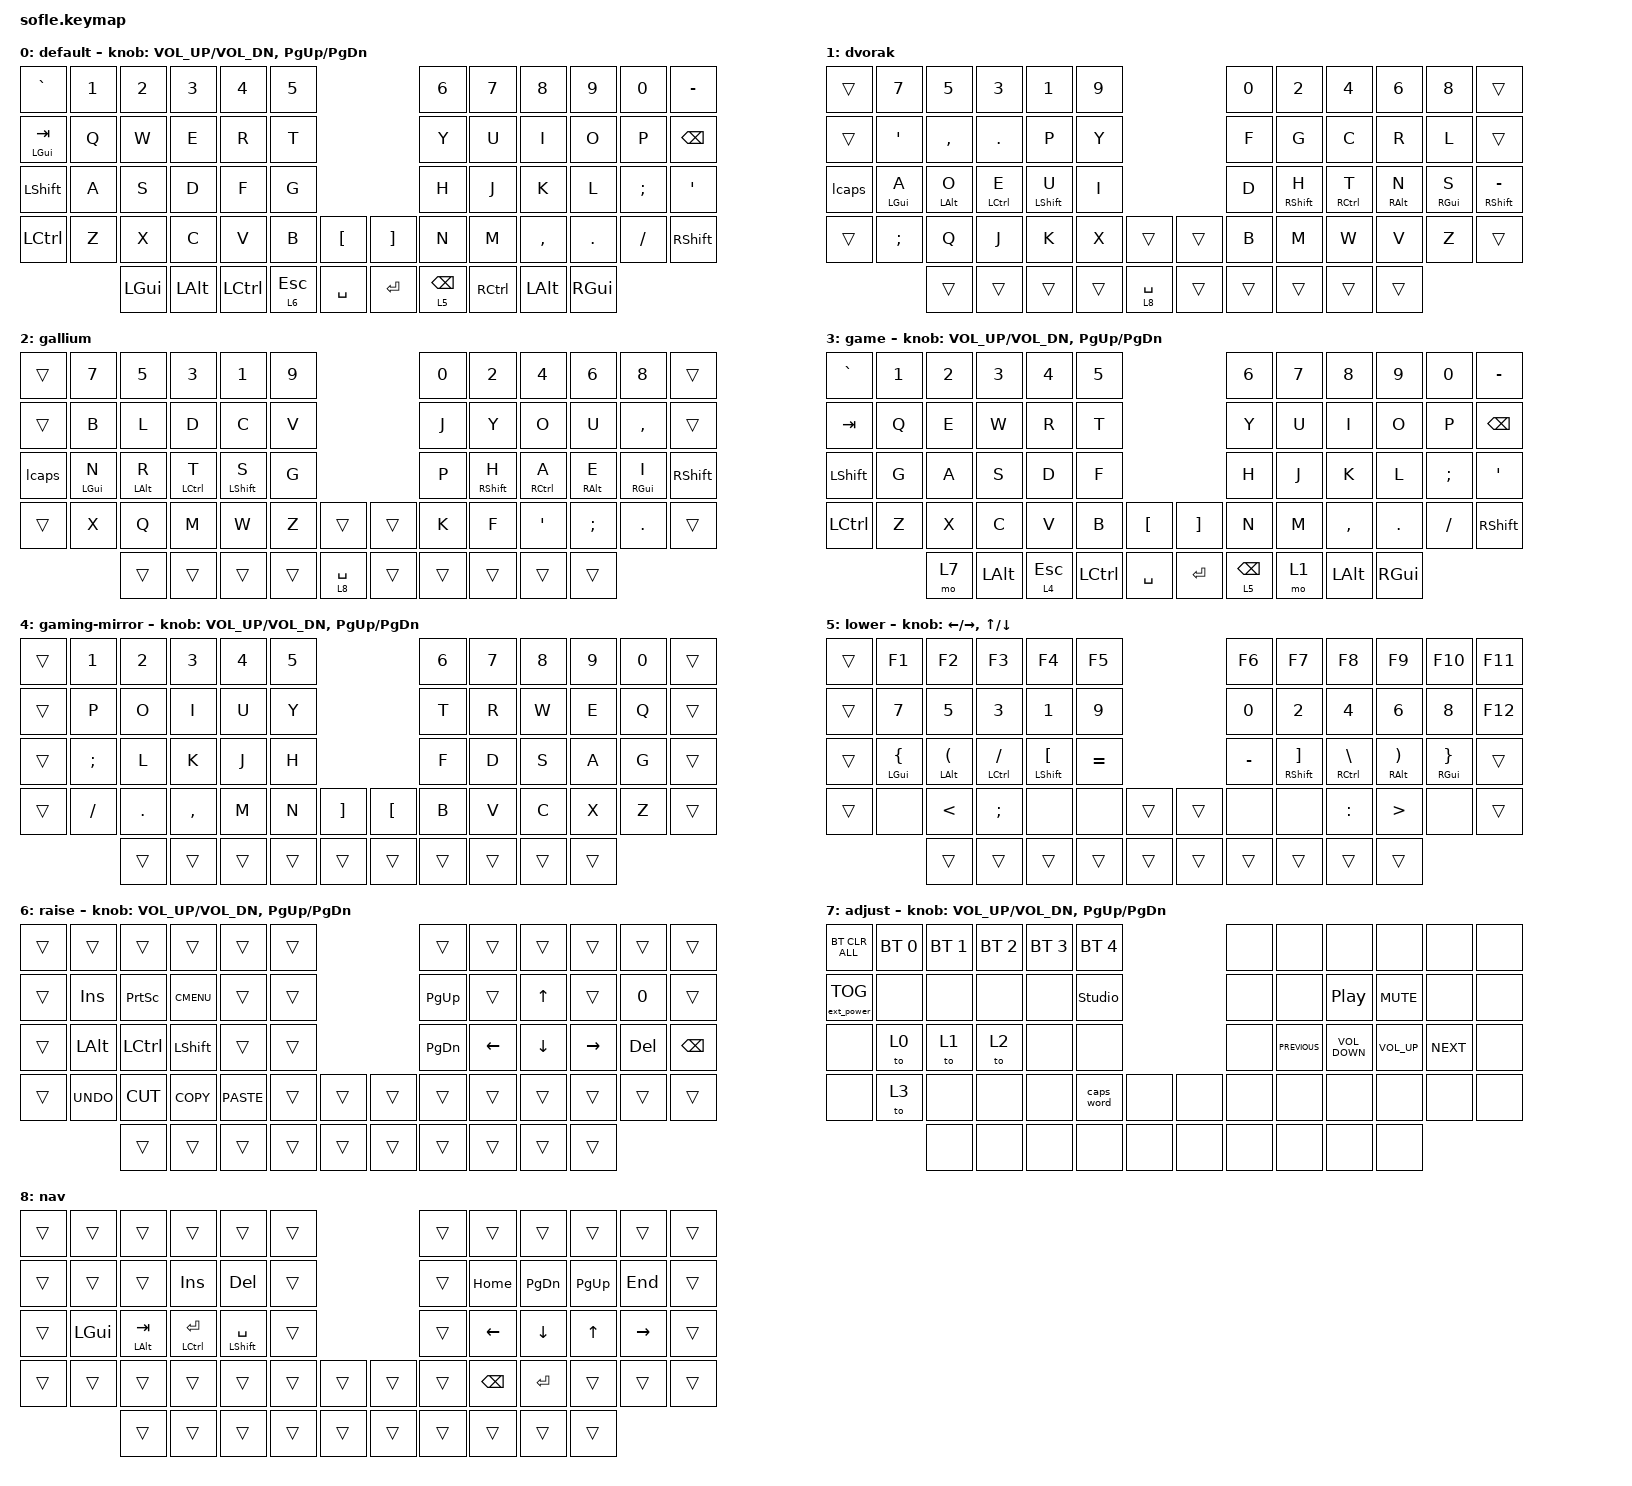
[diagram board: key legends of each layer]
/*
 * Copyright (c) 2020 The ZMK Contributors
 *
 * SPDX-License-Identifier: MIT
 */

#include <behaviors.dtsi>
#include <dt-bindings/zmk/bt.h>
#include <dt-bindings/zmk/ext_power.h>
#include <dt-bindings/zmk/keys.h>

#define BASE 0
#define LOWER 1
#define RAISE 2
#define ADJUST 3
#define extra_layer 4

/ {
    // Activate ADJUST layer by pressing raise and lower

    conditional_layers {
        compatible = "zmk,conditional-layers";

        adjust_layer {
            if-layers = <5 6>;
            then-layer = <7>;
        };
    };

    combos {
        compatible = "zmk,combos";

        question_mark {
            bindings = <&kp QUESTION>;
            key-positions = <14 15>;
            layers = <1 2>;
        };
    };

    behaviors {
        caps: caps {
            compatible = "zmk,behavior-caps-word";
            label = "CAPS";
            #binding-cells = <0>;
            continue-list = <POUND MINUS BACKSPACE UNDERSCORE>;
        };

        hm_l: hm_l {
            compatible = "zmk,behavior-hold-tap";
            label = "Homerow Mod Left Hand";
            bindings = <&kp>, <&kp>;

            #binding-cells = <2>;
            tapping-term-ms = <180>;
            require-prior-idle-ms = <100>;
            flavor = "balanced";
            quick-tap-ms = <175>;
            hold-trigger-key-positions = <18 19 20 21 33 32 31 30 44 45 46 47 22 34 48>;
            hold-trigger-on-release;
        };

        spc: spc {
            compatible = "zmk,behavior-hold-tap";
            label = "Space Layer";
            bindings = <&mo>, <&kp>;

            #binding-cells = <2>;
            tapping-term-ms = <160>;
            quick-tap-ms = <200>;
            require-prior-idle-ms = <10>;
            flavor = "balanced";
        };

        lcaps: lcaps {
            compatible = "zmk,behavior-tap-dance";
            label = "LCAPS";
            #binding-cells = <0>;
            bindings = <&kp LEFT_SHIFT>, <&caps_word>;
        };

        hm_r: hm_r {
            compatible = "zmk,behavior-hold-tap";
            label = "Homerow Mod Right Hand";
            bindings = <&kp>, <&kp>;

            #binding-cells = <2>;
            tapping-term-ms = <180>;
            require-prior-idle-ms = <100>;
            flavor = "balanced";
            quick-tap-ms = <175>;
            hold-trigger-key-positions = <13 25 37 38 26 14 15 16 17 29 28 27 39 40 41>;
            hold-trigger-on-release;
        };
    };

    keymap {
        compatible = "zmk,keymap";

        qwerty {
            display-name = "default";

            // ------------------------------------------------------------------------------------------------------------
            // |   `   |  1  |  2  |  3   |  4   |  5   |                   |  6   |  7    |  8    |  9   |   0   |       |
            // |  ESC  |  Q  |  W  |  E   |  R   |  T   |                   |  Y   |  U    |  I    |  O   |   P   | BKSPC |
            // |  TAB  |  A  |  S  |  D   |  F   |  G   |                   |  H   |  J    |  K    |  L   |   ;   |   '   |
            // | SHIFT |  Z  |  X  |  C   |  V   |  B   |  MUTE  |  |       |  N   |  M    |  ,    |  .   |   /   | SHIFT |
            //               | GUI | ALT  | CTRL | LOWER|  ENTER |  | SPACE | RAISE| CTRL  | ALT   | GUI  |

            bindings = <
&kp GRAVE         &kp N1  &kp N2    &kp N3    &kp N4     &kp N5                                       &kp N6           &kp N7     &kp N8     &kp N9    &kp N0    &kp MINUS
&mt LGUI TAB      &kp Q   &kp W     &kp E     &kp R      &kp T                                        &kp Y            &kp U      &kp I      &kp O     &kp P     &kp BSPC
&kp LEFT_SHIFT    &kp A   &kp S     &kp D     &kp F      &kp G                                        &kp H            &kp J      &kp K      &kp L     &kp SEMI  &kp SQT
&kp LEFT_CONTROL  &kp Z   &kp X     &kp C     &kp V      &kp B         &kp LEFT_BRACKET    &kp RBKT   &kp N            &kp M      &kp COMMA  &kp DOT   &kp FSLH  &kp RSHFT
                          &kp LGUI  &kp LALT  &kp LCTRL  &lt 6 ESCAPE  &kp SPACE           &kp ENTER  &lt 5 BACKSPACE  &kp RCTRL  &kp LALT   &kp RGUI
            >;

            sensor-bindings = <&inc_dec_kp C_VOL_UP C_VOL_DN &inc_dec_kp PG_UP PG_DN>;
            label = "qwerty";
        };

        dvorak {
            bindings = <
&trans  &kp N7            &kp N5            &kp N3                &kp N1              &kp N9                          &kp N0  &kp N2               &kp N4                 &kp N6             &kp N8             &trans
&trans  &kp APOS          &kp COMMA         &kp DOT               &kp P               &kp Y                           &kp F   &kp G                &kp C                  &kp R              &kp L              &trans
&lcaps  &hm_l LEFT_GUI A  &hm_l LEFT_ALT O  &hm_l LEFT_CONTROL E  &hm_l LEFT_SHIFT U  &kp I                           &kp D   &hm_r RIGHT_SHIFT H  &hm_r RIGHT_CONTROL T  &hm_r RIGHT_ALT N  &hm_r RIGHT_GUI S  &mt RIGHT_SHIFT MINUS
&trans  &kp SEMI          &kp Q             &kp J                 &kp K               &kp X   &trans          &trans  &kp B   &kp M                &kp W                  &kp V              &kp Z              &trans
                          &trans            &trans                &trans              &trans  &spc 8 SPACE    &trans  &trans  &trans               &trans                 &trans
            >;

            label = "dvorak";
        };

        gallium-colstag {
            bindings = <
&trans  &kp N7            &kp N5            &kp N3                &kp N1              &kp N9                          &kp N0  &kp N2               &kp N4                 &kp N6             &kp N8             &trans
&trans  &kp B             &kp L             &kp D                 &kp C               &kp V                           &kp J   &kp Y                &kp O                  &kp U              &kp COMMA          &trans
&lcaps  &hm_l LEFT_GUI N  &hm_l LEFT_ALT R  &hm_l LEFT_CONTROL T  &hm_l LEFT_SHIFT S  &kp G                           &kp P   &hm_r RIGHT_SHIFT H  &hm_r RIGHT_CONTROL A  &hm_r RIGHT_ALT E  &hm_r RIGHT_GUI I  &kp RIGHT_SHIFT
&trans  &kp X             &kp Q             &kp M                 &kp W               &kp Z   &trans          &trans  &kp K   &kp F                &kp SQT                &kp SEMI           &kp DOT            &trans
                          &trans            &trans                &trans              &trans  &spc 8 SPACE    &trans  &trans  &trans               &trans                 &trans
            >;

            label = "gallium";
        };

        gaming {
            display-name = "game";
            bindings = <
&kp GRAVE         &kp N1  &kp N2  &kp N3    &kp N4        &kp N5                                                   &kp N6           &kp N7  &kp N8     &kp N9    &kp N0    &kp MINUS
&kp TAB           &kp Q   &kp E   &kp W     &kp R         &kp T                                                    &kp Y            &kp U   &kp I      &kp O     &kp P     &kp BSPC
&kp LEFT_SHIFT    &kp G   &kp A   &kp S     &kp D         &kp F                                                    &kp H            &kp J   &kp K      &kp L     &kp SEMI  &kp SQT
&kp LEFT_CONTROL  &kp Z   &kp X   &kp C     &kp V         &kp B             &kp LEFT_BRACKET    &kp RIGHT_BRACKET  &kp N            &kp M   &kp COMMA  &kp DOT   &kp FSLH  &kp RSHFT
                          &mo 7   &kp LALT  &lt 4 ESCAPE  &kp LEFT_CONTROL  &kp SPACE           &kp ENTER          &lt 5 BACKSPACE  &mo 1   &kp LALT   &kp RGUI
            >;

            sensor-bindings =
                <&inc_dec_kp C_VOL_UP C_VOL_DN>,
                <&inc_dec_kp PG_UP PG_DN>;

            label = "game";
        };

        gaming-mirror {
            display-name = "gaming-mirror";
            bindings = <
&trans  &kp N1    &kp N2   &kp N3     &kp N4  &kp N5                                         &kp N6  &kp N7  &kp N8  &kp N9  &kp N0  &trans
&trans  &kp P     &kp O    &kp I      &kp U   &kp Y                                          &kp T   &kp R   &kp W   &kp E   &kp Q   &trans
&trans  &kp SEMI  &kp L    &kp K      &kp J   &kp H                                          &kp F   &kp D   &kp S   &kp A   &kp G   &trans
&trans  &kp FSLH  &kp DOT  &kp COMMA  &kp M   &kp N   &kp RIGHT_BRACKET    &kp LEFT_BRACKET  &kp B   &kp V   &kp C   &kp X   &kp Z   &trans
                  &trans   &trans     &trans  &trans  &trans               &trans            &trans  &trans  &trans  &trans
            >;

            sensor-bindings =
                <&inc_dec_kp C_VOL_UP C_VOL_DN>,
                <&inc_dec_kp PG_UP PG_DN>;

            label = "game*";
        };

        lower_layer {
            display-name = "lower";

            // TODO: Some binds are waiting for shifted keycode support.
            // ------------------------------------------------------------------------------------------------------------
            // |       |  F1 |  F2 |  F3  |  F4  |  F5  |                   |  F6  |  F7   |  F8   |  F9  |  F10  |  F11  |
            // |   `   |  1  |  2  |  3   |  4   |  5   |                   |  6   |  7    |  8    |  9   |   0   |  F12  |
            // |       |  !  |  @  |  #   |  $   |  %   |                   |  ^   |  &    |  *    |  (   |   )   |   |   |
            // |       |  =  |  -  |  +   |  {   |  }   |        |  |       |  [   |  ]    |  ;    |  :   |   \   |       |
            //               |     |      |      |      |        |  |       |      |       |       |      |

            bindings = <
&trans  &kp F1                     &kp F2                           &kp F3                    &kp F4                         &kp F5                       &kp F6     &kp F7                           &kp F8                         &kp F9                             &kp F10                      &kp F11
&trans  &kp N7                     &kp N5                           &kp N3                    &kp NUMBER_1                   &kp N9                       &kp N0     &kp N2                           &kp N4                         &kp N6                             &kp N8                       &kp F12
&trans  &hm_l LEFT_GUI LEFT_BRACE  &hm_l LEFT_ALT LEFT_PARENTHESIS  &hm_l LEFT_CONTROL SLASH  &hm_l LEFT_SHIFT LEFT_BRACKET  &kp EQUAL                    &kp MINUS  &hm_r RIGHT_SHIFT RIGHT_BRACKET  &hm_r RIGHT_CONTROL BACKSLASH  &hm_r RIGHT_ALT RIGHT_PARENTHESIS  &hm_r RIGHT_GUI RIGHT_BRACE  &trans
&trans  &none                      &kp LESS_THAN                    &kp SEMI                  &none                          &none      &trans    &trans  &none      &none                            &kp COLON                      &kp GREATER_THAN                   &none                        &trans
                                   &trans                           &trans                    &trans                         &trans     &trans    &trans  &trans     &trans                           &trans                         &trans
            >;

            sensor-bindings =
                <&inc_dec_kp LEFT_ARROW RIGHT_ARROW>,
                <&inc_dec_kp UP_ARROW DOWN_ARROW>;
        };

        raise_layer {
            display-name = "raise";

            // ------------------------------------------------------------------------------------------------------------
            // | BTCLR | BT1  | BT2  |  BT3  |  BT4  |  BT5 |                |      |      |       |      |       |       |
            // |       | INS  | PSCR | GUI   |       |      |                | PGUP |      |   ^   |      |       |       |
            // |       | ALT  | CTRL | SHIFT |       | CAPS |                | PGDN |   <- |   v   |  ->  |  DEL  | BKSPC |
            // |       | UNDO | CUT  | COPY  | PASTE |      |      |  |      |      |      |       |      |       |       |
            //                |      |       |       |      |      |  |      |      |      |       |      |

            bindings = <
&trans  &trans      &trans     &trans       &trans       &trans                    &trans     &trans    &trans    &trans     &trans   &trans
&trans  &kp INS     &kp PSCRN  &kp K_CMENU  &trans       &trans                    &kp PG_UP  &trans    &kp UP    &trans     &kp N0   &trans
&trans  &kp LALT    &kp LCTRL  &kp LSHFT    &trans       &trans                    &kp PG_DN  &kp LEFT  &kp DOWN  &kp RIGHT  &kp DEL  &kp BSPC
&trans  &kp K_UNDO  &kp K_CUT  &kp K_COPY   &kp K_PASTE  &trans  &trans    &trans  &trans     &trans    &trans    &trans     &trans   &trans
                    &trans     &trans       &trans       &trans  &trans    &trans  &trans     &trans    &trans    &trans
            >;

            sensor-bindings = <&inc_dec_kp C_VOL_UP C_VOL_DN &inc_dec_kp PG_UP PG_DN>;
        };

        adjust_layer {
            // ----------------------------------------------------------------------------------------------------------------------------
            // | BTCLR  |  BT1    |  BT2    |   BT3   |   BT4   |   BT5   |                  |      |      |       |      |       |       |
            // | EXTPWR | RGB_HUD | RGB_HUI | RGB_SAD | RGB_SAI | RGB_EFF |                  |      |      |       |      |       |       |
            // |        | RGB_BRD | RGB_BRI |         |         |         |                  |      |      |       |      |       |       |
            // |        |         |         |         |         |         | RGB_TOG | |      |      |      |       |      |       |       |
            //                    |         |         |         |         |         | |      |      |      |       |      |

            display-name = "adjust";
            bindings = <
&bt BT_CLR_ALL     &bt BT_SEL 0  &bt BT_SEL 1  &bt BT_SEL 2  &bt BT_SEL 3  &bt BT_SEL 4                    &none  &none           &none              &none            &none       &none
&ext_power EP_TOG  &none         &none         &none         &none         &studio_unlock                  &none  &none           &kp C_PLAY_PAUSE   &kp C_MUTE       &none       &none
&none              &to 0         &to 1         &to 2         &none         &none                           &none  &kp C_PREVIOUS  &kp C_VOLUME_DOWN  &kp C_VOLUME_UP  &kp C_NEXT  &none
&none              &to 3         &none         &none         &none         &caps_word      &none    &none  &none  &none           &none              &none            &none       &none
                                 &none         &none         &none         &none           &none    &none  &none  &none           &none              &none
            >;

            sensor-bindings = <&inc_dec_kp C_VOL_UP C_VOL_DN &inc_dec_kp PG_UP PG_DN>;
        };

        nav {
            bindings = <
&trans  &trans        &trans              &trans                    &trans                  &trans                    &trans  &trans          &trans          &trans        &trans           &trans
&trans  &trans        &trans              &kp INSERT                &kp DELETE              &trans                    &trans  &kp HOME        &kp PAGE_DOWN   &kp PAGE_UP   &kp END          &trans
&trans  &kp LEFT_GUI  &hm_l LEFT_ALT TAB  &hm_l LEFT_CONTROL ENTER  &hm_l LEFT_SHIFT SPACE  &trans                    &trans  &kp LEFT_ARROW  &kp DOWN_ARROW  &kp UP_ARROW  &kp RIGHT_ARROW  &trans
&trans  &trans        &trans              &trans                    &trans                  &trans  &trans    &trans  &trans  &kp BACKSPACE   &kp ENTER       &trans        &trans           &trans
                      &trans              &trans                    &trans                  &trans  &trans    &trans  &trans  &trans          &trans          &trans
            >;

            label = "nav";
        };
    };
};
